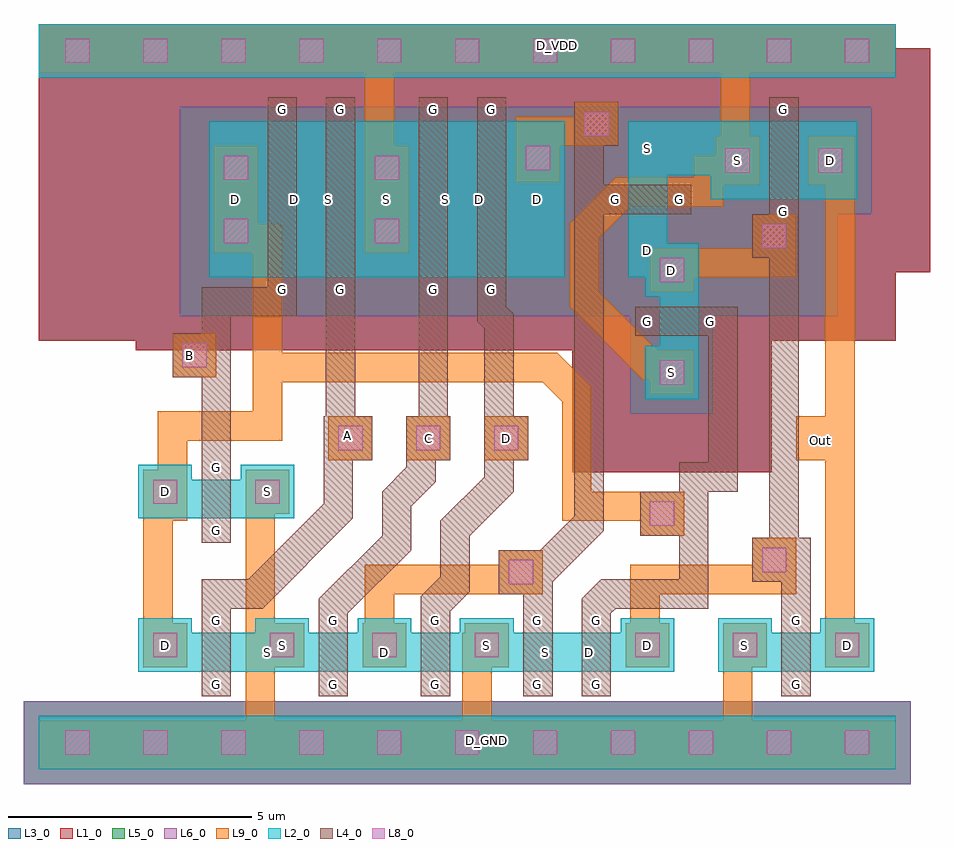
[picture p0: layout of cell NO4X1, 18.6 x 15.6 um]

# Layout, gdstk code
import gdstk
lib = gdstk.Library(unit=1e-6, precision=1e-09)
def R(c, l, rs):  # rectangles x0, y0, x1, y1
    for r in rs: c.add(gdstk.rectangle(r[:2], r[2:], *l))
def A(c, l, x, y, w, h, nx, ny, dx, dy):  # array of equal rectangles
    R(c, l, [(x+i*dx, y+j*dy, x+i*dx+w, y+j*dy+h) for i in range(nx) for j in range(ny)])
def P(c, l, *ps):  # polygons
    for p in ps: c.add(gdstk.Polygon(p, *l))
L1_0 = (1, 0)
L2_0 = (2, 0)
L3_0 = (3, 0)
L4_0 = (4, 0)
L5_0 = (5, 0)
L6_0 = (6, 0)
L8_0 = (8, 0)
L9_0 = (9, 0)

no4x1 = lib.new_cell('NO4X1')
A(no4x1, L1_0, -1.6, 8.8, 1.6, 6.5, 11, 1, 1.6, 0)
R(no4x1, L1_0, [(9.35,6.1,13.45,12.3), (0.4,8.6,6.4,14.8), (1.6,8.6,7.6,14.8), (3.5,8.6,9.5,14.8), (4.7,8.6,10.7,14.8), (9,8.6,12.8,14.8), (10.7,10.2,16.7,14.8)])
A(no4x1, L2_0, -1.6, 0, 1.6, 1.1, 11, 2, 1.6, 14.2)
A(no4x1, L2_0, 2.85, 2, 1.1, 1.1, 3, 1, 2.1, 0)
A(no4x1, L2_0, 3.95, 2, 1, 0.8, 3, 1, 2.1, 0)
R(no4x1, L2_0, [(14.4,0,16,1.1), (0.45,2,1.55,3.1), (1.55,2,2.55,2.8), (2.55,2,3.65,2.8), (4.95,2,6.05,2.8), (7.05,2,8.15,3.1), (8.25,2,9.35,2.8), (9.15,2,10.25,2.8), (9.35,2,10.35,2.8), (10.35,2,11.45,3.1), (12.35,2,13.45,3.1), (13.45,2,14.45,2.8), (14.45,2,15.55,3.1), (0.45,5.15,1.55,6.25), (1.55,5.15,2.55,5.95), (2.55,5.15,3.65,6.25), (10.85,7.6,11.95,8.7), (11.15,8.7,11.95,9.7), (10.85,9.7,11.95,10.8), (1.9,10.1,3,13.3), (3,10.1,3.8,13.3), (3.1,10.1,4.2,13.3), (3.8,10.1,4.9,13.3), (4.2,10.1,5,13.3), (5,10.1,6.1,13.3), (5,10.1,6.1,13.3), (6.1,10.1,6.9,13.3), (6.2,10.1,7.3,13.3), (6.9,10.1,8,13.3), (7.3,10.1,8.1,13.3), (8.1,10.1,9.2,13.3), (10.5,10.1,11.3,11.2), (10.5,11.2,11.3,12.2), (12.2,11.7,13.3,13.3), (13.3,11.7,14.1,13.3), (14.1,11.7,15.2,13.3), (10.5,12.2,11.3,13.3), (10.5,12.2,12.8,13.3), (14.4,14.2,16,15.3)])
A(no4x1, L3_0, -1.6, 8.8, 1.6, 6.5, 11, 1, 1.6, 0)
R(no4x1, L3_0, [(9.35,6.1,13.45,12.3), (0.4,8.6,6.4,14.8), (1.6,8.6,7.6,14.8), (3.5,8.6,9.5,14.8), (4.7,8.6,10.7,14.8), (9,8.6,12.8,14.8), (10.7,10.2,16.7,14.8)])
A(no4x1, L4_0, 4.15, 1.5, 0.6, 1.8, 3, 1, 2.1, 0)
A(no4x1, L4_0, 4.15, 1.5, 0.6, 0.5, 3, 2, 2.1, 1.3)
A(no4x1, L4_0, 4.35, 6.35, 0.9, 0.9, 3, 1, 1.6, 0)
R(no4x1, L4_0, [(1.75,1.5,2.35,3.3), (1.75,1.5,2.35,2), (8.35,1.5,8.95,4.5), (9.55,1.5,10.15,3.3), (9.55,1.5,10.15,2), (13.65,1.5,14.25,3.3), (13.65,1.5,14.25,2), (13.65,1.5,14.25,4.75), (1.75,2.8,2.35,3.3), (9.55,2.8,10.15,3.3), (13.65,2.8,14.25,3.3), (7.85,3.6,8.75,4.5), (13.05,3.85,13.95,4.75), (13.4,4.05,14,9.6), (1.75,4.65,2.35,6.45), (1.75,4.65,2.35,5.15), (10.75,4.8,11.65,5.7), (1.75,5.95,2.35,6.45), (4.3,6.35,4.9,13.8), (6.2,6.35,6.8,13.8), (13.4,7.45,14,11.4), (1.15,8.05,2.05,8.95), (10.65,8.9,12.45,9.5), (10.65,8.9,11.15,9.5), (11.95,8.9,12.45,9.5), (3.1,9.6,3.7,10.1), (3.1,9.6,3.7,13.8), (4.3,9.6,4.9,10.1), (4.3,9.6,4.9,13.8), (6.2,9.6,6.8,10.1), (6.2,9.6,6.8,13.8), (7.4,9.6,8,10.1), (7.4,9.6,8,13.8), (13.05,10.5,13.95,11.4), (13.4,11.2,14,11.7), (13.4,11.2,14,13.8), (9.4,11.4,11.45,12), (9.4,11.4,10,13.7), (10,11.4,11.8,12), (10,11.4,10.5,12), (11.3,11.4,11.8,12), (9.4,12.8,10.3,13.7), (3.1,13.3,3.7,13.8), (4.3,13.3,4.9,13.8), (6.2,13.3,6.8,13.8), (7.4,13.3,8,13.8), (13.4,13.3,14,13.8)])
P(no4x1, L4_0, [(4.15,1.5),(4.75,1.5),(4.75,3.2),(6.05,4.5),(6.05,5.4),(6.55,5.9),(6.55,7.25),(5.95,7.25),(5.95,6.2),(5.45,5.7),(5.45,4.8),(4.15,3.5)],
  [(1.75,1.5),(2.35,1.5),(2.35,3.3),(3,3.3),(4.85,5.15),(4.85,7.25),(4.25,7.25),(4.25,5.45),(2.7,3.9),(1.75,3.9)],
  [(1.75,4.65),(2.35,4.65),(2.35,9.3),(3.7,9.3),(3.7,13.8),(3.1,13.8),(3.1,9.9),(1.75,9.9)],
  [(11.55,4.8),(12.15,4.8),(12.15,5.7),(12.75,5.7),(12.75,9.5),(12.15,9.5),(12.15,6.3),(11.55,6.3)],
  [(8.35,3.25),(8.95,3.25),(8.95,3.85),(10,4.9),(10,12),(9.4,12),(9.4,5.2),(8.35,4.15)],
  [(6.65,4.3),(7.25,4.3),(7.25,4.8),(8.15,5.7),(8.15,6.95),(7.55,6.95),(7.55,6),(6.65,5.1)],
  [(9.55,1.7),(10.15,1.7),(10.15,3.2),(10.25,3.3),(12.15,3.3),(12.15,5.7),(11.55,5.7),(11.55,3.9),(9.95,3.9),(9.55,3.5)],
  [(7.4,9.2),(7.55,9.05),(7.55,5.95),(8.15,5.95),(8.15,9.35),(8,9.5),(8,13.8),(7.4,13.8)],
  [(6.25,1.5),(6.85,1.5),(6.85,3.25),(7.25,3.65),(7.25,5.05),(6.65,5.05),(6.65,3.95),(6.25,3.55)])
A(no4x1, L5_0, 1.6, -0.3, 1.6, 1.7, 9, 1, 1.6, 0)
R(no4x1, L5_0, [(-1.9,-0.3,0,1.4), (-0.3,-0.3,1.6,1.4), (14.4,-0.3,16.3,1.4), (10.55,7.3,12.25,11.1), (1.3,9.3,10.25,12.65), (10.25,9.3,14.8,9.75), (1.3,9.75,14.8,13.6), (1.6,9.8,5.2,13.6), (2.8,9.8,6.4,13.6), (4.7,9.8,8.3,13.6), (5.9,9.8,9.5,13.6), (10.2,9.8,11.6,13.6), (11.9,11.4,15.5,13.6)])
A(no4x1, L6_0, 1.6, -0.3, 1.6, 1.7, 9, 1, 1.6, 0)
R(no4x1, L6_0, [(-1.9,-0.3,0,1.4), (-0.3,-0.3,1.6,1.4), (14.4,-0.3,16.3,1.4), (10.55,7.3,12.25,11.1), (1.3,9.3,14.8,13.6), (1.6,9.8,5.2,13.6), (2.8,9.8,6.4,13.6), (4.7,9.8,8.3,13.6), (5.9,9.8,9.5,13.6), (10.2,9.8,11.6,13.6), (11.9,11.4,15.5,13.6)])
A(no4x1, L8_0, -1.05, 0.3, 0.5, 0.5, 11, 2, 1.6, 14.2)
A(no4x1, L8_0, 3.15, 2.3, 0.5, 0.5, 3, 1, 2.1, 0)
A(no4x1, L8_0, 4.55, 6.55, 0.5, 0.5, 3, 1, 1.6, 0)
R(no4x1, L8_0, [(14.95,0.3,15.45,0.8), (0.75,2.3,1.25,2.8), (7.35,2.3,7.85,2.8), (10.65,2.3,11.15,2.8), (12.65,2.3,13.15,2.8), (14.75,2.3,15.25,2.8), (8.05,3.8,8.55,4.3), (13.25,4.05,13.75,4.55), (10.95,5,11.45,5.5), (0.75,5.45,1.25,5.95), (2.85,5.45,3.35,5.95), (11.15,7.9,11.65,8.4), (1.35,8.25,1.85,8.75), (11.15,10,11.65,10.5), (13.25,10.7,13.75,11.2), (2.2,10.8,2.7,11.3), (5.3,10.8,5.8,11.3), (5.3,10.8,5.8,11.3), (2.2,12.1,2.7,12.6), (5.3,12.1,5.8,12.6), (5.3,12.1,5.8,12.6), (12.5,12.25,13,12.75), (14.4,12.25,14.9,12.75), (8.4,12.3,8.9,12.8), (9.6,13,10.1,13.5), (14.95,14.5,15.45,15)])
A(no4x1, L9_0, -1.6, 0, 1.6, 1, 11, 2, 1.6, 14.3)
A(no4x1, L9_0, 2.95, 2.1, 0.9, 0.9, 3, 1, 2.1, 0)
A(no4x1, L9_0, 4.35, 6.35, 0.9, 0.9, 3, 1, 1.6, 0)
R(no4x1, L9_0, [(14.4,0,16,1), (2.65,0.25,3.25,6), (7.1,0.25,7.7,2.8), (7.3,0.3,7.9,0.9), (12.45,0.35,13.05,2.95), (0.55,2.1,1.45,3), (0.55,2.1,1.15,6), (7.15,2.1,8.05,3), (10.45,2.1,11.35,3), (10.55,2.1,11.15,4.2), (12.45,2.1,13.35,3), (14.55,2.1,15.45,3), (14.55,2.1,15.15,13), (7.85,3.6,8.75,4.5), (10.8,3.6,13.95,4.2), (13.05,3.85,13.95,4.75), (10.75,4.8,11.65,5.7), (9.15,5.1,11.65,5.7), (0.55,5.25,1.45,6.15), (2.65,5.25,3.55,6.15), (13.95,6.35,14.85,7.25), (14.15,6.45,14.75,7.05), (6.1,6.5,6.7,7.1), (7.7,6.5,8.3,7.1), (4.45,6.55,5.05,7.15), (10.95,7.7,11.85,8.6), (1.15,8.05,2.05,8.95), (1.2,8.2,1.8,8.8), (10.95,9.8,11.85,10.7), (11.65,10.1,13.95,10.7), (13.05,10.5,13.95,11.4), (2,10.6,2.9,12.8), (5.1,10.6,6,12.8), (5.1,10.6,6,12.8), (5.1,11.45,5.7,14.95), (12.3,12,13.2,13), (12.4,12,13,15.1), (14.2,12,15.1,13), (8.2,12.05,9.1,13.05), (8.2,12.8,10.3,13.4), (9.4,12.8,10.3,13.7), (14.4,14.3,16,15.3), (0.55,14.5,15.25,15.1), (8.75,14.55,9.35,15.15)])
P(no4x1, L9_0, [(0.1,0.25),(15.15,0.25),(15.15,0.2),(15.75,0.2),(15.75,0.85),(0.1,0.85)],
  [(0.85,5.1),(1.45,5.1),(1.45,6.75),(3.4,6.75),(3.4,11.2),(2,11.2),(2,10.6),(2.8,10.6),(2.8,7.35),(0.85,7.35)],
  [(5.1,2.1),(5.7,2.1),(5.7,3.6),(8.75,3.6),(8.75,4.2),(5.1,4.2)],
  [(9.3,9.5),(10.8,8),(11.85,8),(11.85,8.6),(11.1,8.6),(9.9,9.8),(9.9,10.9),(10.55,11.55),(12.45,11.55),(12.45,12),(13.2,12),(13.2,12.6),(11.85,12.6),(11.85,12.15),(10.25,12.15),(9.3,11.2)],
  [(2.8,7.95),(8.75,7.95),(9.15,7.55),(9.15,5.1),(9.75,5.1),(9.75,7.85),(9.05,8.55),(2.8,8.55)])
no4x1.add(gdstk.Label('G', (13.95,1.752), layer=4, texttype=0))
no4x1.add(gdstk.Label('G', (13.95,3.052), layer=4, texttype=0))
no4x1.add(gdstk.Label('S', (12.899,2.551), layer=9, texttype=0))
no4x1.add(gdstk.Label('D', (14.999,2.551), layer=9, texttype=0))
no4x1.add(gdstk.Label('D', (9.699,2.401), layer=2, texttype=0))
no4x1.add(gdstk.Label('G', (8.65,1.752), layer=4, texttype=0))
no4x1.add(gdstk.Label('G', (8.65,3.052), layer=4, texttype=0))
no4x1.add(gdstk.Label('S', (7.599,2.551), layer=9, texttype=0))
no4x1.add(gdstk.Label('D', (5.501,2.401), layer=2, texttype=0))
no4x1.add(gdstk.Label('G', (6.55,1.752), layer=4, texttype=0))
no4x1.add(gdstk.Label('G', (6.55,3.052), layer=4, texttype=0))
no4x1.add(gdstk.Label('S', (7.601,2.551), layer=9, texttype=0))
no4x1.add(gdstk.Label('G', (4.45,1.752), layer=4, texttype=0))
no4x1.add(gdstk.Label('G', (4.45,3.052), layer=4, texttype=0))
no4x1.add(gdstk.Label('S', (3.399,2.551), layer=9, texttype=0))
no4x1.add(gdstk.Label('D', (5.499,2.551), layer=9, texttype=0))
no4x1.add(gdstk.Label('G', (2.05,4.902), layer=4, texttype=0))
no4x1.add(gdstk.Label('G', (2.05,6.202), layer=4, texttype=0))
no4x1.add(gdstk.Label('S', (3.101,5.701), layer=9, texttype=0))
no4x1.add(gdstk.Label('D', (1.001,5.701), layer=9, texttype=0))
no4x1.add(gdstk.Label('G', (2.05,1.752), layer=4, texttype=0))
no4x1.add(gdstk.Label('G', (2.05,3.052), layer=4, texttype=0))
no4x1.add(gdstk.Label('S', (3.101,2.401), layer=2, texttype=0))
no4x1.add(gdstk.Label('D', (1.001,2.551), layer=9, texttype=0))
no4x1.add(gdstk.Label('G', (9.85,1.752), layer=4, texttype=0))
no4x1.add(gdstk.Label('G', (9.85,3.052), layer=4, texttype=0))
no4x1.add(gdstk.Label('S', (8.799,2.401), layer=2, texttype=0))
no4x1.add(gdstk.Label('D', (10.899,2.551), layer=9, texttype=0))
no4x1.add(gdstk.Label('G', (7.7,9.852), layer=4, texttype=0))
no4x1.add(gdstk.Label('G', (7.7,13.552), layer=4, texttype=0))
no4x1.add(gdstk.Label('S', (6.749,11.701), layer=2, texttype=0))
no4x1.add(gdstk.Label('D', (8.649,11.701), layer=2, texttype=0))
no4x1.add(gdstk.Label('G', (3.4,9.852), layer=4, texttype=0))
no4x1.add(gdstk.Label('G', (3.4,13.552), layer=4, texttype=0))
no4x1.add(gdstk.Label('S', (4.351,11.701), layer=2, texttype=0))
no4x1.add(gdstk.Label('D', (2.451,11.701), layer=9, texttype=0))
no4x1.add(gdstk.Label('G', (13.7,11.452), layer=4, texttype=0))
no4x1.add(gdstk.Label('G', (13.7,13.552), layer=4, texttype=0))
no4x1.add(gdstk.Label('S', (12.749,12.501), layer=9, texttype=0))
no4x1.add(gdstk.Label('D', (14.649,12.501), layer=9, texttype=0))
no4x1.add(gdstk.Label('G', (10.252,11.7), layer=4, texttype=0))
no4x1.add(gdstk.Label('G', (11.552,11.7), layer=4, texttype=0))
no4x1.add(gdstk.Label('S', (10.901,12.751), layer=2, texttype=0))
no4x1.add(gdstk.Label('D', (10.901,10.651), layer=2, texttype=0))
no4x1.add(gdstk.Label('G', (12.198,9.2), layer=4, texttype=0))
no4x1.add(gdstk.Label('G', (10.898,9.2), layer=4, texttype=0))
no4x1.add(gdstk.Label('S', (11.399,8.149), layer=9, texttype=0))
no4x1.add(gdstk.Label('D', (11.399,10.249), layer=9, texttype=0))
no4x1.add(gdstk.Label('G', (6.5,9.852), layer=4, texttype=0))
no4x1.add(gdstk.Label('G', (6.5,13.552), layer=4, texttype=0))
no4x1.add(gdstk.Label('S', (5.549,11.701), layer=9, texttype=0))
no4x1.add(gdstk.Label('D', (7.449,11.701), layer=2, texttype=0))
no4x1.add(gdstk.Label('G', (4.6,9.852), layer=4, texttype=0))
no4x1.add(gdstk.Label('G', (4.6,13.552), layer=4, texttype=0))
no4x1.add(gdstk.Label('S', (5.551,11.701), layer=9, texttype=0))
no4x1.add(gdstk.Label('D', (3.651,11.701), layer=2, texttype=0))
no4x1.add(gdstk.Label('A', (4.75,6.85), layer=50, texttype=0))
no4x1.add(gdstk.Label('Out', (14.45,6.75), layer=50, texttype=0))
no4x1.add(gdstk.Label('D_VDD', (9.05,14.85), layer=50, texttype=0))
no4x1.add(gdstk.Label('D_GND', (7.6,0.6), layer=50, texttype=0))
no4x1.add(gdstk.Label('D', (8,6.8), layer=50, texttype=0))
no4x1.add(gdstk.Label('C', (6.4,6.8), layer=50, texttype=0))
no4x1.add(gdstk.Label('B', (1.5,8.5), layer=50, texttype=0))

lib.write_gds('NO4X1.gds')
